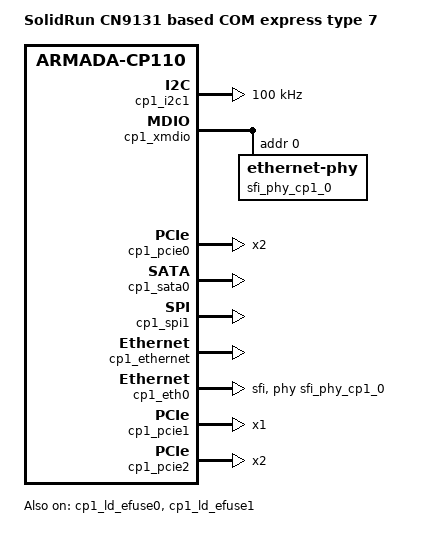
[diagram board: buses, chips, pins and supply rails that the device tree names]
/*
* Copyright (C) 2020 SolidRun ltd.
*
* SPDX-License-Identifier:    GPL-2.0
* https://spdx.org/licenses
*/

/* Device Tree file for the SolidRun cn1931 based com express type 7, cp1  */

#undef CP110_NAME
#undef CP110_NUM
#undef CP110_PCIE_MEM_SIZE
#undef CP110_PCIEx_CPU_MEM_BASE
#undef CP110_PCIEx_BUS_MEM_BASE

/* CP110-1 Settings */
#define CP110_NAME                     cp1
#define CP110_NUM                      1
#define CP110_PCIE_MEM_SIZE(iface)     (0xf00000)
#define CP110_PCIEx_CPU_MEM_BASE(iface)        (0xe2000000 + (iface) * 0x1000000)
#define CP110_PCIEx_BUS_MEM_BASE(iface)        (CP110_PCIEx_CPU_MEM_BASE(iface))

#include "armada-cp110.dtsi"

/ {
       model = "SolidRun CN9131 based COM express type 7";
       compatible = "marvell,cn9131-db";

       aliases {
               gpio3 = &cp1_gpio0;
               gpio4 = &cp1_gpio1;
               fuse5 = &cp1_ld_efuse0; /* bank 68 RO */
               fuse6 = &cp1_ld_efuse1; /* bank 69 RW */
       };

};

&cp1_ld_efuse0 {
       status = "okay";
};

&cp1_ld_efuse1 {
       status = "okay";
};

&cp1_i2c1 {
       pinctrl-names = "default";
       pinctrl-0 = <&cp1_i2c1_pins>;
       status = "okay";
       clock-frequency = <100000>;
};

&cp1_xmdio {
        status = "okay";
	pinctrl-0 = <&cp1_xmdio_pins>;
	sfi_phy_cp1_0: ethernet-phy@0 {
                reg = <0>;
        };

};


&cp1_pcie0 {
       pinctrl-names = "default";
       status = "okay";
       num-lanes = <2>;
               /* non-prefetchable memory */
       ranges = <0x82000000 0 0xe2000000 0 0xe2000000 0 0xf00000>;
};

&cp1_pinctl {
       compatible = "marvell,mvebu-pinctrl",
                    "marvell,cp115-standalone-pinctrl";
       bank-name ="cp1-110";

       /* MPP Bus:
	*	[0-10]	NC
	*	[11]	GPIO - BATLOW_N serves as LED_IO1 on clearfog
	*	[12]	GPIO - SPKR
	*	[13-16]	SPI TPM
	*	[17]	GPIO - TPM_PIRQ_N
	*	[18-23]	boot straps
	*	[24-27]	NC
	*	[28-30]	PTP
	*	[31,32]	NC
	*	[33]	GPIO - THERMTRIP_N
	*	[34]	GPIO - THERM_N
	*	[35,36]	I2C1
	*	[37,38]	xmdio - connected to phy 88e2110
	*	[39]	sata_act
	*	[40]	GPIO - sw rerout push cutton
	*	[41]	NC
	*	[42,43]	GPIOs - wireless disable wifi0, wifi1
	*	[44-49]	NC
	*	[50]	GPIO - SFP_INT_CP1
	*	[51]	GPIO - wake1
	*	[52]	RCVR - recovered clock
	*	[53-62]	NC
	*/
               /*      0    1    2    3    4    5    6    7    8    9 */
       pin-func = <    0x0  0x0  0x0  0x0  0x0  0x0  0x0  0x0  0x0  0x0
                       0x0  0x0  0x0  0x3  0x3  0x3  0x3  0x0  0x0  0x0
                       0x0  0x0  0x0  0x0  0x0  0x0  0x0  0x0  0x7  0x7
                       0x7  0x0  0x0  0x0  0x2  0x2  0x2  0x8  0x8  0x9
                       0x0  0x0  0x0  0x0  0x0  0x0  0x0  0x0  0x0  0x0
                       0x0  0x0  0x2  0x0  0x0  0x0  0x0  0x0  0x0  0x0
                       0x0  0x0  0x0 >;

       cp1_xmdio_pins: cp1-xmdio-pins-0 {
               marvell,pins = < 37 38 >;
               marvell,function = <8>;
       };
       cp1_i2c1_pins: cp1-i2c-pins-1 {
               marvell,pins = < 35 36 >;
               marvell,function = <2>;
       };

       cp1_spi0_pins: cp1-spi-pins-0 {
               marvell,pins = < 13 14 15 16 >;
               marvell,function = <3>;
       };

};

/* SATA0  */
&cp1_sata0 {
       status = "okay";
};

/* SPI TPM */
&cp1_spi1 {
       pinctrl-names = "default";
       pinctrl-0 = <&cp1_spi0_pins>;
       reg = <0x700680 0x50>,          /* control */
             <0x2000000 0x1000000>,    /* CS0 */
             <0 0xffffffff>,           /* CS1 */
             <0 0xffffffff>,           /* CS2 */
             <0 0xffffffff>;           /* CS3 */
       status = "okay";
};

&cp1_ethernet {
        status = "okay";
};

&cp1_eth0 {
        status = "okay";
        phy-mode = "sfi";
        phy = <&sfi_phy_cp1_0>;
};

&cp1_pcie0 {
        num-lanes = <2>;
        status = "okay";
};

&cp1_pcie1 {
        num-lanes = <1>;
        status = "okay";
};

&cp1_pcie2 {
        num-lanes = <2>;
        status = "okay";
};
